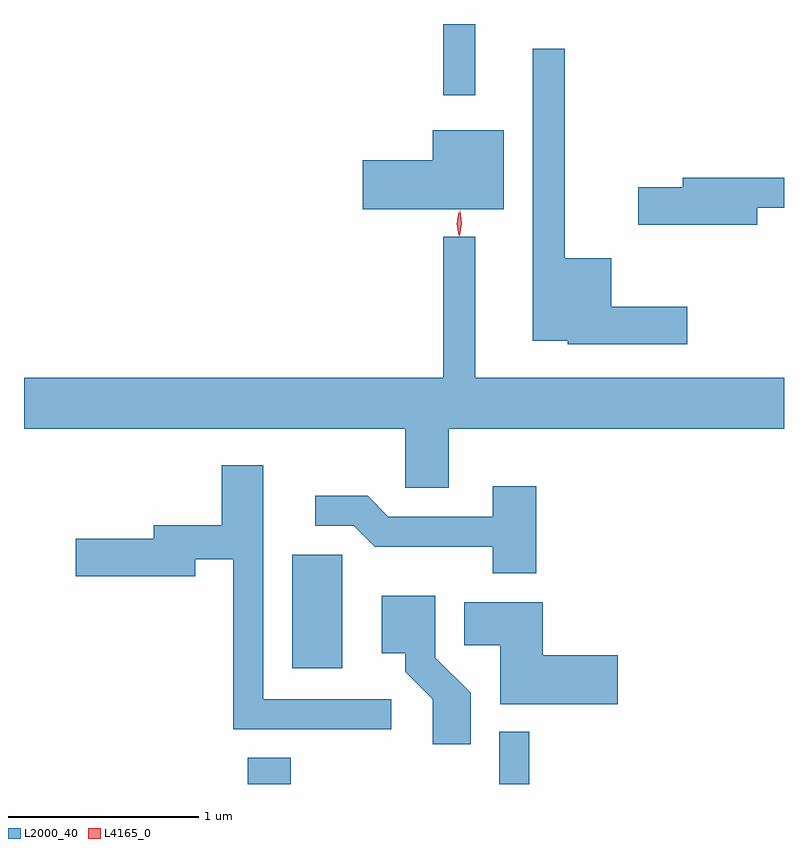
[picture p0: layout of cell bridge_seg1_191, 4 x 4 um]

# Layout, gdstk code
import gdstk
lib = gdstk.Library(unit=1e-6, precision=1e-09)
def R(c, l, rs):  # rectangles x0, y0, x1, y1
    for r in rs: c.add(gdstk.rectangle(r[:2], r[2:], *l))
def P(c, l, *ps):  # polygons
    for p in ps: c.add(gdstk.Polygon(p, *l))
L2000_40 = (2000, 40)
L4165_0 = (4165, 0)

bridge_seg1_191 = lib.new_cell('bridge_seg1_191')
R(bridge_seg1_191, L2000_40, [(687.921,970.967,688.149,971.104), (689.246,970.967,689.404,971.243), (688.156,971.576,688.419,972.174), (688.951,974.593,689.119,974.967)])
P(bridge_seg1_191, L2000_40, [(690.234,973.479),(689.834,973.479),(689.834,973.734),(689.589,973.734),(689.589,974.838),(689.421,974.838),(689.421,973.301),(689.606,973.301),(689.606,973.281),(690.234,973.281)],
  [(689.269,974.409),(688.896,974.409),(688.896,974.249),(688.526,974.249),(688.526,973.991),(689.269,973.991)],
  [(690.604,974.001),(690.744,974.001),(690.744,974.159),(690.211,974.159),(690.211,974.109),(689.976,974.109),(689.976,973.911),(690.604,973.911)],
  [(688.979,972.836),(690.744,972.836),(690.744,973.104),(689.119,973.104),(689.119,973.848),(688.951,973.848),(688.951,973.104),(686.744,973.104),(686.744,972.836),(688.751,972.836),(688.751,972.526),(688.979,972.526)],
  [(688.678,971.414),(688.004,971.414),(688.004,972.644),(687.786,972.644),(687.786,972.329),(687.426,972.329),(687.426,972.259),(687.016,972.259),(687.016,972.061),(687.644,972.061),(687.644,972.151),(687.846,972.151),(687.846,971.256),(688.678,971.256)],
  [(689.439,972.534),(689.211,972.534),(689.211,972.374),(688.662,972.374),(688.552,972.484),(688.278,972.484),(688.278,972.326),(688.479,972.326),(688.589,972.216),(689.211,972.216),(689.211,972.076),(689.439,972.076)],
  [(689.094,971.447),(688.909,971.632),(688.909,971.959),(688.626,971.959),(688.626,971.656),(688.751,971.656),(688.751,971.559),(688.896,971.414),(688.896,971.176),(689.094,971.176)],
  [(689.869,971.644),(689.474,971.644),(689.474,971.924),(689.061,971.924),(689.061,971.696),(689.251,971.696),(689.251,971.386),(689.869,971.386)])
P(bridge_seg1_191, L4165_0, [(689.032,973.853),(689.032,973.854),(689.022,973.916),(689.032,973.979),(689.032,973.98),(689.033,973.979),(689.042,973.916),(689.033,973.854)],
  [(689.037,973.85),(689.028,973.918),(689.039,973.985),(689.039,973.986),(689.04,973.985),(689.048,973.918),(689.038,973.85),(689.038,973.85)])

lib.write_gds('bridge_seg1_191.gds')
